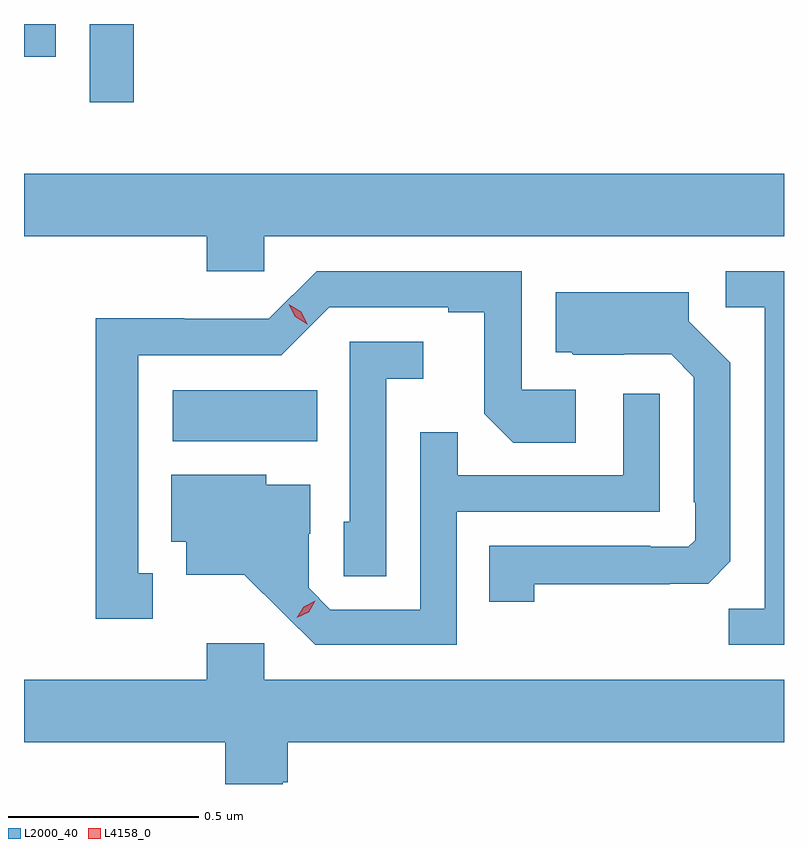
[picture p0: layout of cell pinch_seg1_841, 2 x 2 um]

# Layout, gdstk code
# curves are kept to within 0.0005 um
import gdstk
lib = gdstk.Library(unit=1e-6, precision=1e-09)
def R(c, l, rs):  # rectangles x0, y0, x1, y1
    for r in rs: c.add(gdstk.rectangle(r[:2], r[2:], *l))
def P(c, l, *ps):  # polygons
    for p in ps: c.add(gdstk.Polygon(p, *l))
L2000_40 = (2000, 40)
L4158_0 = (4158, 0)

pinch_seg1_841 = lib.new_cell('pinch_seg1_841')
R(pinch_seg1_841, L2000_40, [(479.922,557.852,480.302,557.986), (479.703,558.744,479.819,558.95), (479.53,558.864,479.614,558.95)])
P(pinch_seg1_841, L2000_40, [(480.162,558.392),(481.53,558.392),(481.53,558.556),(479.53,558.556),(479.53,558.392),(480.011,558.392),(480.011,558.299),(480.162,558.299)],
  [(479.869,557.505),(479.83,557.505),(479.83,558.078),(480.207,558.078),(480.333,558.204),(480.647,558.204),(480.647,558.192),(480.741,558.192),(480.741,557.924),(480.817,557.848),(480.982,557.848),(480.982,557.988),(480.84,557.988),(480.84,558.3),(480.3,558.3),(480.174,558.174),(479.952,558.174),(479.952,558.176),(479.719,558.176),(479.719,557.385),(479.869,557.385)],
  [(481.53,558.3),(481.377,558.3),(481.377,558.204),(481.479,558.204),(481.479,557.411),(481.384,557.411),(481.384,557.316),(481.53,557.316)],
  [(480.873,557.476),(481.229,557.476),(481.229,557.477),(481.33,557.477),(481.389,557.536),(481.389,558.058),(481.279,558.168),(481.279,558.244),(480.929,558.244),(480.929,558.086),(480.97,558.086),(480.976,558.08),(481.11,558.08),(481.11,558.081),(481.233,558.081),(481.293,558.021),(481.293,557.692),(481.296,557.692),(481.296,557.592),(481.278,557.574),(481.178,557.574),(481.178,557.577),(480.754,557.577),(480.754,557.43),(480.873,557.43)],
  [(480.483,558.017),(480.58,558.017),(480.58,558.114),(480.387,558.114),(480.387,557.64),(480.372,557.64),(480.372,557.497),(480.483,557.497)],
  [(480.669,557.667),(481.203,557.667),(481.203,557.977),(481.107,557.977),(481.107,557.763),(480.671,557.763),(480.671,557.876),(480.573,557.876),(480.573,557.409),(480.336,557.409),(480.279,557.466),(480.279,557.608),(480.283,557.608),(480.283,557.737),(480.168,557.737),(480.168,557.764),(479.918,557.764),(479.918,557.588),(479.957,557.588),(479.957,557.501),(480.109,557.501),(480.296,557.316),(480.669,557.316)],
  [(480.211,556.954),(480.224,556.954),(480.224,557.06),(481.53,557.06),(481.53,557.224),(480.162,557.224),(480.162,557.32),(480.011,557.32),(480.011,557.224),(479.53,557.224),(479.53,557.06),(480.059,557.06),(480.059,556.95),(480.211,556.95)])
P(pinch_seg1_841, L4158_0, [(480.275,558.16),(480.244,558.18),(480.227,558.212),(480.227,558.212),(480.227,558.212),(480.259,558.193),(480.276,558.161),(480.276,558.16)],
  [(480.248,557.387),(480.248,557.388),(480.266,557.417),(480.296,557.432),(480.296,557.432),(480.296,557.432),(480.279,557.402),(480.248,557.387)])

lib.write_gds('pinch_seg1_841.gds')
